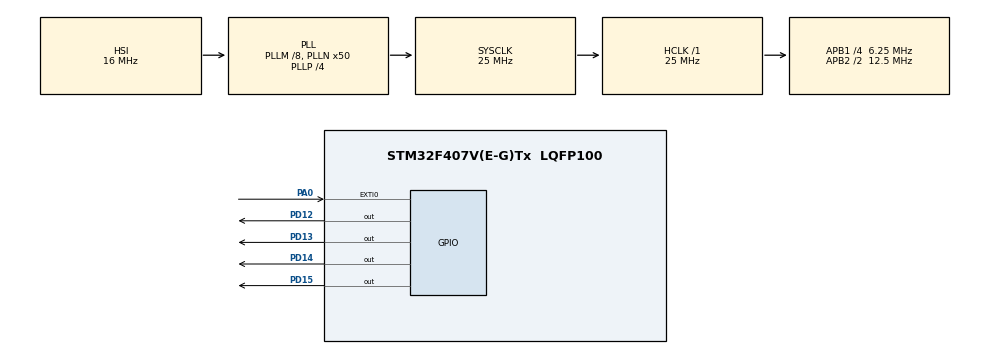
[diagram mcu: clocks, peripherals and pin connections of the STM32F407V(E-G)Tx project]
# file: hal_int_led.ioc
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Mcu.Family=STM32F4
Mcu.Name=STM32F407V(E-G)Tx
Mcu.Package=LQFP100
NVIC.EXTI0_IRQn=true\:0\:0\:false\:false\:true\:true\:true\:true
NVIC.PriorityGroup=NVIC_PRIORITYGROUP_0
PA0-WKUP.Signal=GPXTI0
PD12.Signal=GPIO_Output
PD13.Signal=GPIO_Output
PD14.Signal=GPIO_Output
PD15.Signal=GPIO_Output
ProjectManager.HeapSize=0x200
ProjectManager.StackSize=0x400
ProjectManager.TargetToolchain=STM32CubeIDE
RCC.48MHZClocksFreq_Value=14285714.285714285
RCC.AHBFreq_Value=25000000
RCC.APB1CLKDivider=RCC_HCLK_DIV4
RCC.APB1Freq_Value=6250000
RCC.APB1TimFreq_Value=12500000
RCC.APB2CLKDivider=RCC_HCLK_DIV2
RCC.APB2Freq_Value=12500000
RCC.APB2TimFreq_Value=25000000
RCC.CortexFreq_Value=25000000
RCC.HCLKFreq_Value=25000000
RCC.HSE_VALUE=8000000
RCC.HSI_VALUE=16000000
RCC.LSE_VALUE=32768
RCC.PLLM=8
RCC.PLLN=50
RCC.PLLP=RCC_PLLP_DIV4
RCC.PLLQ=7
RCC.SYSCLKFreq_VALUE=25000000
RCC.SYSCLKSource=RCC_SYSCLKSOURCE_PLLCLK
RCC.VCOOutputFreq_Value=100000000
board=STM32F407G-DISC1

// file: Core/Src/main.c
/* USER CODE BEGIN Header */
/**
 ******************************************************************************
 * @file           : main.c
 * @brief          : Main program body
 ******************************************************************************
 * @attention
 *
 * Copyright (c) 2026 STMicroelectronics.
 * All rights reserved.
 *
 * This software is licensed under terms that can be found in the LICENSE file
 * in the root directory of this software component.
 * If no LICENSE file comes with this software, it is provided AS-IS.
 *
 ******************************************************************************
 */
/* USER CODE END Header */
#include "main.h"

/* USER CODE BEGIN PV */
volatile uint8_t flag = 0;
/* USER CODE END PV */

void SystemClock_Config(void);
static void MX_GPIO_Init(void);

int main(void) {

	/* MCU Configuration--------------------------------------------------------*/

	/* Reset of all peripherals, Initializes the Flash interface and the Systick. */
	HAL_Init();

	/* Configure the system clock */
	SystemClock_Config();

	/* Initialize all configured peripherals */
	MX_GPIO_Init();

	/* Infinite loop */
	/* USER CODE BEGIN WHILE */
	while (1) {
		switch (flag) {
		case 0:
			HAL_GPIO_WritePin(GPIOD, GPIO_PIN_12, GPIO_PIN_SET);
			HAL_Delay(100);
			HAL_GPIO_WritePin(GPIOD, GPIO_PIN_12, GPIO_PIN_RESET);
			HAL_Delay(100);
			HAL_GPIO_WritePin(GPIOD, GPIO_PIN_13, GPIO_PIN_SET);
			HAL_Delay(100);
			HAL_GPIO_WritePin(GPIOD, GPIO_PIN_13, GPIO_PIN_RESET);
			HAL_Delay(100);
			HAL_GPIO_WritePin(GPIOD, GPIO_PIN_14, GPIO_PIN_SET);
			HAL_Delay(100);
			HAL_GPIO_WritePin(GPIOD, GPIO_PIN_14, GPIO_PIN_RESET);
			HAL_Delay(100);
			HAL_GPIO_WritePin(GPIOD, GPIO_PIN_15, GPIO_PIN_SET);
			HAL_Delay(100);
			HAL_GPIO_WritePin(GPIOD, GPIO_PIN_15, GPIO_PIN_RESET);
			HAL_Delay(100);
			break;
		case 1:
			HAL_GPIO_WritePin(GPIOD, GPIO_PIN_15, GPIO_PIN_SET);
			HAL_Delay(100);
			HAL_GPIO_WritePin(GPIOD, GPIO_PIN_15, GPIO_PIN_RESET);
			HAL_Delay(100);
			HAL_GPIO_WritePin(GPIOD, GPIO_PIN_14, GPIO_PIN_SET);
			HAL_Delay(100);
			HAL_GPIO_WritePin(GPIOD, GPIO_PIN_14, GPIO_PIN_RESET);
			HAL_Delay(100);
			HAL_GPIO_WritePin(GPIOD, GPIO_PIN_13, GPIO_PIN_SET);
			HAL_Delay(100);
			HAL_GPIO_WritePin(GPIOD, GPIO_PIN_13, GPIO_PIN_RESET);
			HAL_Delay(100);
			HAL_GPIO_WritePin(GPIOD, GPIO_PIN_12, GPIO_PIN_SET);
			HAL_Delay(100);
			HAL_GPIO_WritePin(GPIOD, GPIO_PIN_12, GPIO_PIN_RESET);
			HAL_Delay(100);
			break;
		case 2:
			HAL_GPIO_WritePin(GPIOD, GPIO_PIN_12, GPIO_PIN_SET);
			HAL_GPIO_WritePin(GPIOD, GPIO_PIN_14, GPIO_PIN_SET);
			HAL_Delay(500);
			HAL_GPIO_WritePin(GPIOD, GPIO_PIN_12, GPIO_PIN_RESET);
			HAL_GPIO_WritePin(GPIOD, GPIO_PIN_14, GPIO_PIN_RESET);
			HAL_Delay(500);
			HAL_GPIO_WritePin(GPIOD, GPIO_PIN_13, GPIO_PIN_SET);
			HAL_GPIO_WritePin(GPIOD, GPIO_PIN_15, GPIO_PIN_SET);
			HAL_Delay(500);
			HAL_GPIO_WritePin(GPIOD, GPIO_PIN_13, GPIO_PIN_RESET);
			HAL_GPIO_WritePin(GPIOD, GPIO_PIN_15, GPIO_PIN_RESET);
			HAL_Delay(500);

			break;
		case 3:
			HAL_GPIO_WritePin(GPIOD, GPIO_PIN_12, GPIO_PIN_SET);
			HAL_GPIO_WritePin(GPIOD, GPIO_PIN_13, GPIO_PIN_SET);
			HAL_Delay(500);
			HAL_GPIO_WritePin(GPIOD, GPIO_PIN_12, GPIO_PIN_RESET);
			HAL_GPIO_WritePin(GPIOD, GPIO_PIN_13, GPIO_PIN_RESET);
			HAL_Delay(500);
			HAL_GPIO_WritePin(GPIOD, GPIO_PIN_14, GPIO_PIN_SET);
			HAL_GPIO_WritePin(GPIOD, GPIO_PIN_15, GPIO_PIN_SET);
			HAL_Delay(500);
			HAL_GPIO_WritePin(GPIOD, GPIO_PIN_14, GPIO_PIN_RESET);
			HAL_GPIO_WritePin(GPIOD, GPIO_PIN_15, GPIO_PIN_RESET);
			HAL_Delay(500);
			break;
		}
		/* USER CODE END WHILE */

	}
}

void SystemClock_Config(void) {
	RCC_OscInitTypeDef RCC_OscInitStruct = { 0 };
	RCC_ClkInitTypeDef RCC_ClkInitStruct = { 0 };

	/** Configure the main internal regulator output voltage
	 */
	__HAL_RCC_PWR_CLK_ENABLE();
	__HAL_PWR_VOLTAGESCALING_CONFIG(PWR_REGULATOR_VOLTAGE_SCALE1);

	/** Initializes the RCC Oscillators according to the specified parameters
	 * in the RCC_OscInitTypeDef structure.
	 */
	RCC_OscInitStruct.OscillatorType = RCC_OSCILLATORTYPE_HSI;
	RCC_OscInitStruct.HSIState = RCC_HSI_ON;
	RCC_OscInitStruct.HSICalibrationValue = RCC_HSICALIBRATION_DEFAULT;
	RCC_OscInitStruct.PLL.PLLState = RCC_PLL_ON;
	RCC_OscInitStruct.PLL.PLLSource = RCC_PLLSOURCE_HSI;
	RCC_OscInitStruct.PLL.PLLM = 8;
	RCC_OscInitStruct.PLL.PLLN = 50;
	RCC_OscInitStruct.PLL.PLLP = RCC_PLLP_DIV4;
	RCC_OscInitStruct.PLL.PLLQ = 7;
	if (HAL_RCC_OscConfig(&RCC_OscInitStruct) != HAL_OK) {
		Error_Handler();
	}

	/** Initializes the CPU, AHB and APB buses clocks
	 */
	RCC_ClkInitStruct.ClockType = RCC_CLOCKTYPE_HCLK | RCC_CLOCKTYPE_SYSCLK
			| RCC_CLOCKTYPE_PCLK1 | RCC_CLOCKTYPE_PCLK2;
	RCC_ClkInitStruct.SYSCLKSource = RCC_SYSCLKSOURCE_PLLCLK;
	RCC_ClkInitStruct.AHBCLKDivider = RCC_SYSCLK_DIV1;
	RCC_ClkInitStruct.APB1CLKDivider = RCC_HCLK_DIV4;
	RCC_ClkInitStruct.APB2CLKDivider = RCC_HCLK_DIV2;

	if (HAL_RCC_ClockConfig(&RCC_ClkInitStruct, FLASH_LATENCY_0) != HAL_OK) {
		Error_Handler();
	}
}

static void MX_GPIO_Init(void) {
	GPIO_InitTypeDef GPIO_InitStruct = { 0 };

	/* GPIO Ports Clock Enable */
	__HAL_RCC_GPIOA_CLK_ENABLE();
	__HAL_RCC_GPIOD_CLK_ENABLE();

	/*Configure GPIO pin Output Level */
	HAL_GPIO_WritePin(GPIOD,
	GPIO_PIN_12 | GPIO_PIN_13 | GPIO_PIN_14 | GPIO_PIN_15, GPIO_PIN_RESET);

	/*Configure GPIO pin : PA0 */
	GPIO_InitStruct.Pin = GPIO_PIN_0;
	GPIO_InitStruct.Mode = GPIO_MODE_IT_RISING;
	GPIO_InitStruct.Pull = GPIO_NOPULL;
	HAL_GPIO_Init(GPIOA, &GPIO_InitStruct);

	/*Configure GPIO pins : PD12 PD13 PD14 PD15 */
	GPIO_InitStruct.Pin = GPIO_PIN_12 | GPIO_PIN_13 | GPIO_PIN_14 | GPIO_PIN_15;
	GPIO_InitStruct.Mode = GPIO_MODE_OUTPUT_PP;
	GPIO_InitStruct.Pull = GPIO_NOPULL;
	GPIO_InitStruct.Speed = GPIO_SPEED_FREQ_LOW;
	HAL_GPIO_Init(GPIOD, &GPIO_InitStruct);

	/* EXTI interrupt init*/
	HAL_NVIC_SetPriority(EXTI0_IRQn, 0, 0);
	HAL_NVIC_EnableIRQ(EXTI0_IRQn);

}

/* USER CODE BEGIN 4 */
uint32_t last=0;
void HAL_GPIO_EXTI_Callback(uint16_t GPIO_Pin) {
	if(HAL_GetTick()-last>400)
	{
	if (flag == 4)
		flag = 0;
	 else
		flag++;
	last=HAL_GetTick();

	}

}

/* USER CODE END 4 */

void Error_Handler(void) {
	__disable_irq();
	while (1) {
	}
}
